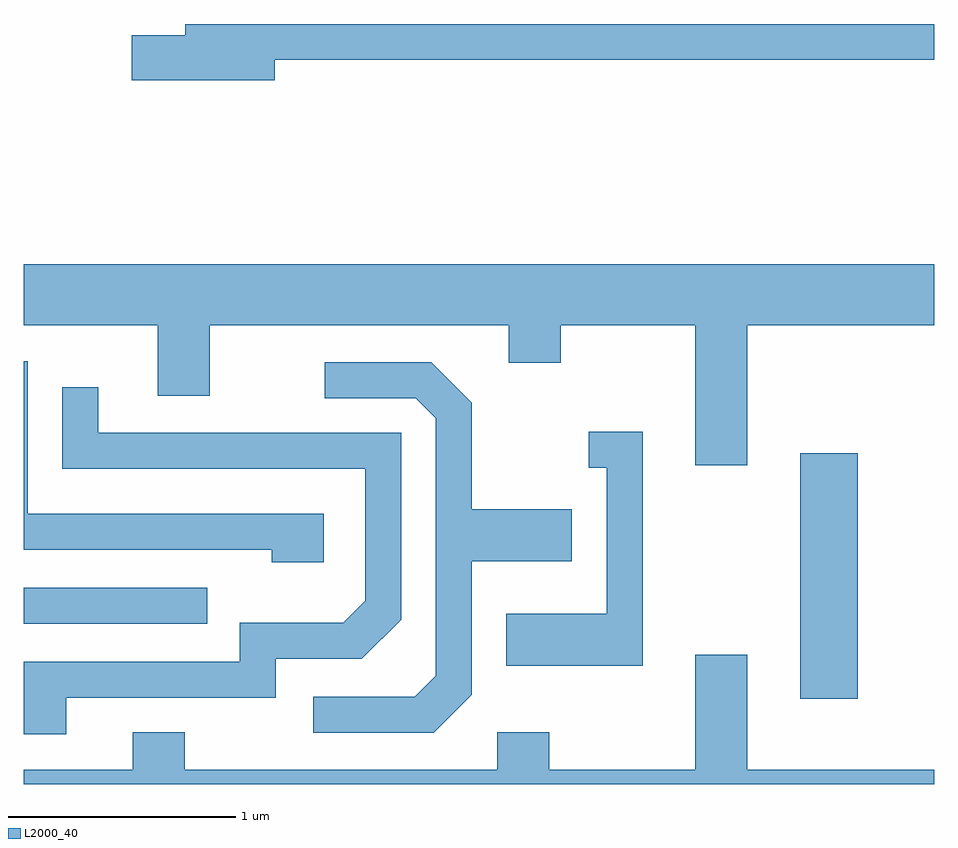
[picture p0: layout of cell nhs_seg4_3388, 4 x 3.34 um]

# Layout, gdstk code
import gdstk
lib = gdstk.Library(unit=1e-6, precision=1e-09)
def R(c, l, rs):  # rectangles x0, y0, x1, y1
    for r in rs: c.add(gdstk.rectangle(r[:2], r[2:], *l))
def P(c, l, *ps):  # polygons
    for p in ps: c.add(gdstk.Polygon(p, *l))
L2000_40 = (2000, 40)

nhs_seg4_3388 = lib.new_cell('nhs_seg4_3388')
R(nhs_seg4_3388, L2000_40, [(287.021,1366.356,287.274,1367.434), (283.611,1366.686,284.418,1366.844)])
P(nhs_seg4_3388, L2000_40, [(284.714,1369.161),(287.611,1369.161),(287.611,1369.319),(284.321,1369.319),(284.321,1369.269),(284.086,1369.269),(284.086,1369.071),(284.714,1369.071)],
  [(286.789,1367.996),(287.611,1367.996),(287.611,1368.264),(283.611,1368.264),(283.611,1367.996),(284.201,1367.996),(284.201,1367.686),(284.429,1367.686),(284.429,1367.996),(285.741,1367.996),(285.741,1367.831),(285.969,1367.831),(285.969,1367.996),(286.561,1367.996),(286.561,1367.381),(286.789,1367.381)],
  [(284.929,1367.169),(283.629,1367.169),(283.629,1367.839),(283.611,1367.839),(283.611,1367.011),(284.701,1367.011),(284.701,1366.956),(284.929,1366.956)],
  [(285.579,1366.374),(285.579,1366.961),(286.019,1366.961),(286.019,1367.189),(285.579,1367.189),(285.579,1367.657),(285.402,1367.834),(284.933,1367.834),(284.933,1367.676),(285.334,1367.676),(285.421,1367.589),(285.421,1366.457),(285.329,1366.364),(284.883,1366.364),(284.883,1366.206),(285.412,1366.206)],
  [(283.799,1366.361),(284.719,1366.361),(284.719,1366.531),(285.097,1366.531),(285.269,1366.704),(285.269,1367.524),(283.939,1367.524),(283.939,1367.723),(283.781,1367.723),(283.781,1367.366),(285.111,1367.366),(285.111,1366.787),(285.014,1366.689),(284.561,1366.689),(284.561,1366.519),(283.611,1366.519),(283.611,1366.201),(283.799,1366.201)],
  [(286.329,1367.529),(286.093,1367.529),(286.093,1367.371),(286.171,1367.371),(286.171,1366.729),(285.731,1366.729),(285.731,1366.501),(286.329,1366.501)],
  [(287.611,1366.044),(286.789,1366.044),(286.789,1366.549),(286.561,1366.549),(286.561,1366.044),(285.919,1366.044),(285.919,1366.209),(285.691,1366.209),(285.691,1366.044),(284.319,1366.044),(284.319,1366.209),(284.091,1366.209),(284.091,1366.044),(283.611,1366.044),(283.611,1365.982),(287.611,1365.982)])

lib.write_gds('nhs_seg4_3388.gds')
